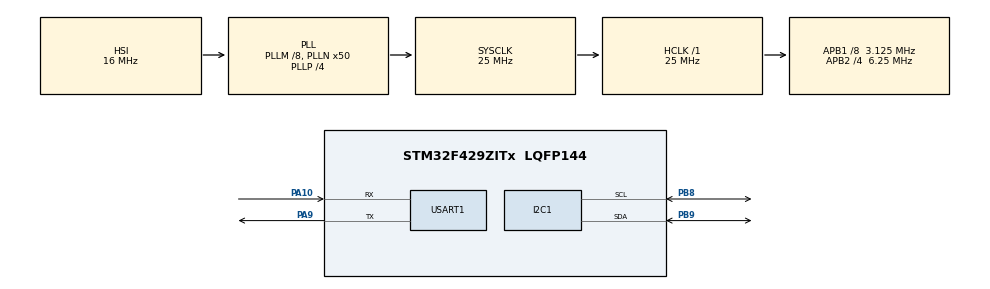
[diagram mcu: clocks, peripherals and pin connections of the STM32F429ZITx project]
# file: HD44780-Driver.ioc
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Mcu.Family=STM32F4
Mcu.Name=STM32F429ZITx
Mcu.Package=LQFP144
NVIC.PriorityGroup=NVIC_PRIORITYGROUP_0
PA10.Mode=Asynchronous
PA10.Signal=USART1_RX
PA9.Mode=Asynchronous
PA9.Signal=USART1_TX
PB8.Mode=I2C
PB8.Signal=I2C1_SCL
PB9.Mode=I2C
PB9.Signal=I2C1_SDA
ProjectManager.HeapSize=0x200
ProjectManager.StackSize=0x400
ProjectManager.TargetToolchain=STM32CubeIDE
RCC.48MHZClocksFreq_Value=14285714.285714285
RCC.AHBFreq_Value=25000000
RCC.APB1CLKDivider=RCC_HCLK_DIV8
RCC.APB1Freq_Value=3125000
RCC.APB1TimFreq_Value=6250000
RCC.APB2CLKDivider=RCC_HCLK_DIV4
RCC.APB2Freq_Value=6250000
RCC.APB2TimFreq_Value=12500000
RCC.CortexFreq_Value=25000000
RCC.HCLKFreq_Value=25000000
RCC.HSE_VALUE=8000000
RCC.HSI_VALUE=16000000
RCC.LSE_VALUE=32768
RCC.PLLM=8
RCC.PLLN=50
RCC.PLLP=RCC_PLLP_DIV4
RCC.PLLQ=7
RCC.SYSCLKFreq_VALUE=25000000
RCC.SYSCLKSource=RCC_SYSCLKSOURCE_PLLCLK
RCC.VCOOutputFreq_Value=100000000
USART1.VirtualMode=VM_ASYNC
board=STM32F429I-DISC1

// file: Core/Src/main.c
/* USER CODE BEGIN Header */
/**
  ******************************************************************************
  * @file           : main.c
  * @brief          : Main program body
  ******************************************************************************
  * @attention
  *
  * Copyright (c) 2025 STMicroelectronics.
  * All rights reserved.
  *
  * This software is licensed under terms that can be found in the LICENSE file
  * in the root directory of this software component.
  * If no LICENSE file comes with this software, it is provided AS-IS.
  *
  ******************************************************************************
  */
/* USER CODE END Header */
#include "main.h"

/* USER CODE BEGIN Includes */
#include <stdio.h>

#include "app_display.h"
/* USER CODE END Includes */

I2C_HandleTypeDef hi2c1;

UART_HandleTypeDef huart1;

void SystemClock_Config(void);
static void MX_GPIO_Init(void);
static void MX_I2C1_Init(void);
static void MX_USART1_UART_Init(void);

/* USER CODE BEGIN 0 */

/**
 * @brief Redirect printf to UART1 for debugging
 */
int _write(int file, char *ptr, int len) {
  HAL_UART_Transmit(&huart1, (uint8_t*)ptr, len, HAL_MAX_DELAY);
  return len;
}

static void display_test(void) {
  static uint32_t last_tick = 0;
  static uint32_t time_secs = 0;

  if ((HAL_GetTick() - last_tick) >= 1000) {
    last_tick = HAL_GetTick();
    display_show_time(++time_secs);
  }

}

/* USER CODE END 0 */

int main(void)
{

  /* MCU Configuration--------------------------------------------------------*/

  /* Reset of all peripherals, Initializes the Flash interface and the Systick. */
  HAL_Init();

  /* Configure the system clock */
  SystemClock_Config();

  /* Initialize all configured peripherals */
  MX_GPIO_Init();
  MX_I2C1_Init();
  MX_USART1_UART_Init();
  /* USER CODE BEGIN 2 */

  printf("STM32 PCF8574 HD44780 LCD Driver Test\r\n");

  display_init();
  display_show_message("LCD TEST");
  display_show_time(0);
  HAL_Delay(2000);

  /* USER CODE END 2 */

  /* Infinite loop */
  /* USER CODE BEGIN WHILE */

  while (1)
  {
    display_test();
    /* USER CODE END WHILE */

  }
}

void SystemClock_Config(void)
{
  RCC_OscInitTypeDef RCC_OscInitStruct = {0};
  RCC_ClkInitTypeDef RCC_ClkInitStruct = {0};

  /** Configure the main internal regulator output voltage
  */
  __HAL_RCC_PWR_CLK_ENABLE();
  __HAL_PWR_VOLTAGESCALING_CONFIG(PWR_REGULATOR_VOLTAGE_SCALE3);

  /** Initializes the RCC Oscillators according to the specified parameters
  * in the RCC_OscInitTypeDef structure.
  */
  RCC_OscInitStruct.OscillatorType = RCC_OSCILLATORTYPE_HSI;
  RCC_OscInitStruct.HSIState = RCC_HSI_ON;
  RCC_OscInitStruct.HSICalibrationValue = RCC_HSICALIBRATION_DEFAULT;
  RCC_OscInitStruct.PLL.PLLState = RCC_PLL_ON;
  RCC_OscInitStruct.PLL.PLLSource = RCC_PLLSOURCE_HSI;
  RCC_OscInitStruct.PLL.PLLM = 8;
  RCC_OscInitStruct.PLL.PLLN = 50;
  RCC_OscInitStruct.PLL.PLLP = RCC_PLLP_DIV4;
  RCC_OscInitStruct.PLL.PLLQ = 7;
  if (HAL_RCC_OscConfig(&RCC_OscInitStruct) != HAL_OK)
  {
    Error_Handler();
  }

  /** Initializes the CPU, AHB and APB buses clocks
  */
  RCC_ClkInitStruct.ClockType = RCC_CLOCKTYPE_HCLK|RCC_CLOCKTYPE_SYSCLK
                              |RCC_CLOCKTYPE_PCLK1|RCC_CLOCKTYPE_PCLK2;
  RCC_ClkInitStruct.SYSCLKSource = RCC_SYSCLKSOURCE_PLLCLK;
  RCC_ClkInitStruct.AHBCLKDivider = RCC_SYSCLK_DIV1;
  RCC_ClkInitStruct.APB1CLKDivider = RCC_HCLK_DIV8;
  RCC_ClkInitStruct.APB2CLKDivider = RCC_HCLK_DIV4;

  if (HAL_RCC_ClockConfig(&RCC_ClkInitStruct, FLASH_LATENCY_0) != HAL_OK)
  {
    Error_Handler();
  }
}

static void MX_I2C1_Init(void)
{

  hi2c1.Instance = I2C1;
  hi2c1.Init.ClockSpeed = 100000;
  hi2c1.Init.DutyCycle = I2C_DUTYCYCLE_2;
  hi2c1.Init.OwnAddress1 = 0;
  hi2c1.Init.AddressingMode = I2C_ADDRESSINGMODE_7BIT;
  hi2c1.Init.DualAddressMode = I2C_DUALADDRESS_DISABLE;
  hi2c1.Init.OwnAddress2 = 0;
  hi2c1.Init.GeneralCallMode = I2C_GENERALCALL_DISABLE;
  hi2c1.Init.NoStretchMode = I2C_NOSTRETCH_DISABLE;
  if (HAL_I2C_Init(&hi2c1) != HAL_OK)
  {
    Error_Handler();
  }

  /** Configure Analogue filter
  */
  if (HAL_I2CEx_ConfigAnalogFilter(&hi2c1, I2C_ANALOGFILTER_ENABLE) != HAL_OK)
  {
    Error_Handler();
  }

  /** Configure Digital filter
  */
  if (HAL_I2CEx_ConfigDigitalFilter(&hi2c1, 0) != HAL_OK)
  {
    Error_Handler();
  }

}

static void MX_USART1_UART_Init(void)
{

  huart1.Instance = USART1;
  huart1.Init.BaudRate = 115200;
  huart1.Init.WordLength = UART_WORDLENGTH_8B;
  huart1.Init.StopBits = UART_STOPBITS_1;
  huart1.Init.Parity = UART_PARITY_NONE;
  huart1.Init.Mode = UART_MODE_TX_RX;
  huart1.Init.HwFlowCtl = UART_HWCONTROL_NONE;
  huart1.Init.OverSampling = UART_OVERSAMPLING_16;
  if (HAL_UART_Init(&huart1) != HAL_OK)
  {
    Error_Handler();
  }

}

static void MX_GPIO_Init(void)
{

  /* GPIO Ports Clock Enable */
  __HAL_RCC_GPIOA_CLK_ENABLE();
  __HAL_RCC_GPIOB_CLK_ENABLE();

}

void Error_Handler(void)
{
  __disable_irq();
  while (1)
  {
  }
}
